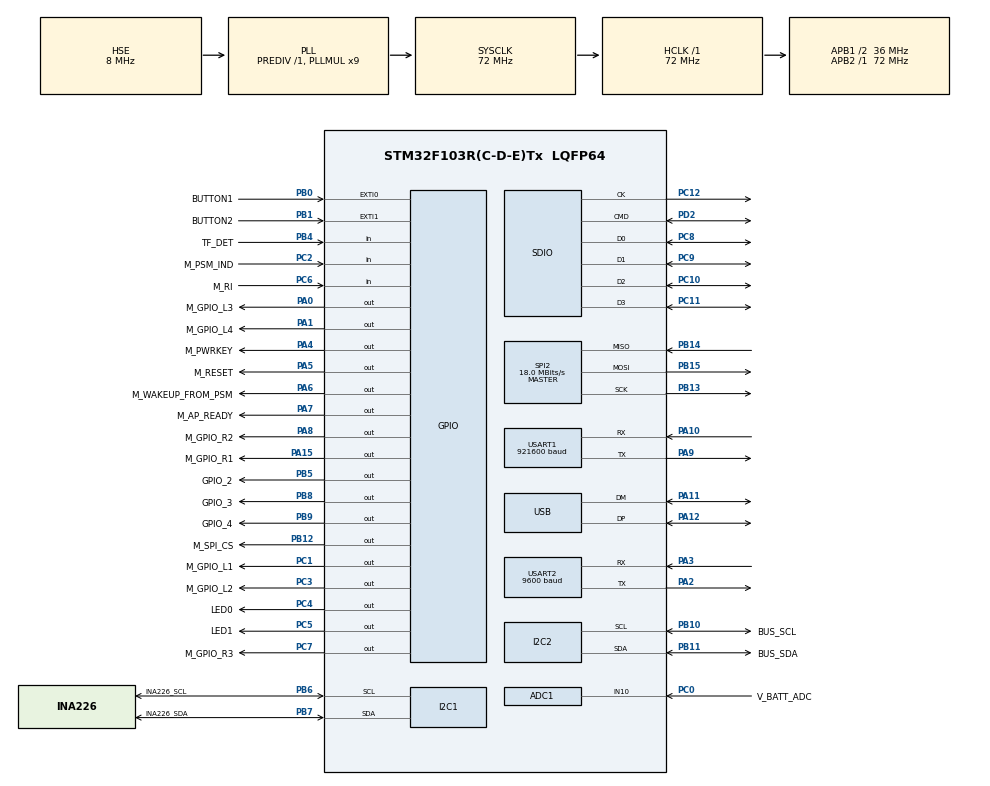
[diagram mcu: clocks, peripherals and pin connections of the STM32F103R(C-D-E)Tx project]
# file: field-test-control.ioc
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ADC1.Channel-0\#ChannelRegularConversion=ADC_CHANNEL_10
ADC1.Channel-1\#ChannelRegularConversion=ADC_CHANNEL_10
ADC1.Channel-4\#ChannelRegularConversion=ADC_CHANNEL_10
ADC1.Channel-5\#ChannelRegularConversion=ADC_CHANNEL_10
ADC1.EnableAnalogWatchDog=false
ADC1.NbrOfConversion=4
ADC1.NbrOfConversionFlag=1
ADC1.Rank-0\#ChannelRegularConversion=1
ADC1.Rank-1\#ChannelRegularConversion=2
ADC1.Rank-4\#ChannelRegularConversion=3
ADC1.Rank-5\#ChannelRegularConversion=4
ADC1.SamplingTime-0\#ChannelRegularConversion=ADC_SAMPLETIME_55CYCLES_5
ADC1.SamplingTime-1\#ChannelRegularConversion=ADC_SAMPLETIME_1CYCLE_5
ADC1.SamplingTime-4\#ChannelRegularConversion=ADC_SAMPLETIME_1CYCLE_5
ADC1.SamplingTime-5\#ChannelRegularConversion=ADC_SAMPLETIME_1CYCLE_5
ADC1.master=1
Dma.MEMTOMEM.4.Direction=DMA_MEMORY_TO_MEMORY
Dma.MEMTOMEM.4.Instance=DMA1_Channel1
Dma.MEMTOMEM.4.MemDataAlignment=DMA_MDATAALIGN_BYTE
Dma.MEMTOMEM.4.MemInc=DMA_MINC_ENABLE
Dma.MEMTOMEM.4.Mode=DMA_NORMAL
Dma.MEMTOMEM.4.PeriphDataAlignment=DMA_PDATAALIGN_BYTE
Dma.MEMTOMEM.4.PeriphInc=DMA_PINC_ENABLE
Dma.MEMTOMEM.4.Priority=DMA_PRIORITY_LOW
Dma.Request0=SDIO
Dma.Request1=USART2_RX
Dma.Request2=USART2_TX
Dma.Request3=USART1_RX
Dma.Request4=MEMTOMEM
Dma.SDIO.0.Direction=DMA_MEMORY_TO_PERIPH
Dma.SDIO.0.Instance=DMA2_Channel4
Dma.SDIO.0.MemDataAlignment=DMA_MDATAALIGN_WORD
Dma.SDIO.0.MemInc=DMA_MINC_ENABLE
Dma.SDIO.0.Mode=DMA_CIRCULAR
Dma.SDIO.0.PeriphDataAlignment=DMA_PDATAALIGN_WORD
Dma.SDIO.0.PeriphInc=DMA_PINC_DISABLE
Dma.SDIO.0.Priority=DMA_PRIORITY_LOW
Dma.USART1_RX.3.Direction=DMA_PERIPH_TO_MEMORY
Dma.USART1_RX.3.Instance=DMA1_Channel5
Dma.USART1_RX.3.MemDataAlignment=DMA_MDATAALIGN_BYTE
Dma.USART1_RX.3.MemInc=DMA_MINC_ENABLE
Dma.USART1_RX.3.Mode=DMA_NORMAL
Dma.USART1_RX.3.PeriphDataAlignment=DMA_PDATAALIGN_BYTE
Dma.USART1_RX.3.PeriphInc=DMA_PINC_DISABLE
Dma.USART1_RX.3.Priority=DMA_PRIORITY_MEDIUM
Dma.USART2_RX.1.Direction=DMA_PERIPH_TO_MEMORY
Dma.USART2_RX.1.Instance=DMA1_Channel6
Dma.USART2_RX.1.MemDataAlignment=DMA_MDATAALIGN_BYTE
Dma.USART2_RX.1.MemInc=DMA_MINC_ENABLE
Dma.USART2_RX.1.Mode=DMA_NORMAL
Dma.USART2_RX.1.PeriphDataAlignment=DMA_PDATAALIGN_BYTE
Dma.USART2_RX.1.PeriphInc=DMA_PINC_DISABLE
Dma.USART2_RX.1.Priority=DMA_PRIORITY_LOW
Dma.USART2_TX.2.Direction=DMA_MEMORY_TO_PERIPH
Dma.USART2_TX.2.Instance=DMA1_Channel7
Dma.USART2_TX.2.MemDataAlignment=DMA_MDATAALIGN_BYTE
Dma.USART2_TX.2.MemInc=DMA_MINC_ENABLE
Dma.USART2_TX.2.Mode=DMA_NORMAL
Dma.USART2_TX.2.PeriphDataAlignment=DMA_PDATAALIGN_BYTE
Dma.USART2_TX.2.PeriphInc=DMA_PINC_DISABLE
Dma.USART2_TX.2.Priority=DMA_PRIORITY_LOW
FATFS.BSP.number=1
FATFS._CODE_PAGE=936
FATFS._USE_LFN=2
FATFS0.BSP.STBoard=false
FATFS0.BSP.api=Unknown
FATFS0.BSP.i2caddr=0
FATFS0.BSP.instance=PB4
FATFS0.BSP.ip=GPIO
FATFS0.BSP.mode=Input
FATFS0.BSP.name=Detect_SDIO
FATFS0.BSP.solution=PB4
I2C1.I2C_Mode=I2C_Fast
I2C2.I2C_Mode=I2C_Fast
Mcu.Family=STM32F1
Mcu.Name=STM32F103R(C-D-E)Tx
Mcu.Package=LQFP64
NVIC.DMA1_Channel5_IRQn=true\:0\:0\:false\:false\:true\:false\:true
NVIC.DMA1_Channel6_IRQn=true\:0\:0\:false\:false\:true\:false\:true
NVIC.DMA1_Channel7_IRQn=true\:0\:0\:false\:false\:true\:false\:true
NVIC.DMA2_Channel4_5_IRQn=true\:2\:0\:true\:false\:true\:false\:true
NVIC.EXTI0_IRQn=true\:3\:0\:true\:false\:true\:true\:true
NVIC.EXTI1_IRQn=true\:3\:0\:true\:false\:true\:true\:true
NVIC.PriorityGroup=NVIC_PRIORITYGROUP_4
NVIC.RTC_IRQn=true\:0\:0\:true\:false\:true\:true\:true
NVIC.SDIO_IRQn=true\:2\:0\:true\:false\:true\:true\:true
NVIC.USART2_IRQn=true\:1\:0\:true\:false\:true\:true\:true
NVIC.USB_LP_CAN1_RX0_IRQn=true\:0\:0\:false\:false\:true\:false\:true
PA0-WKUP.GPIO_Label=M_GPIO_L3
PA0-WKUP.Signal=GPIO_Output
PA1.GPIO_Label=M_GPIO_L4
PA1.GPIO_PuPd=GPIO_NOPULL
PA1.Signal=GPIO_Output
PA10.Mode=Asynchronous
PA10.Signal=USART1_RX
PA11.Mode=Device
PA11.Signal=USB_DM
PA12.Mode=Device
PA12.Signal=USB_DP
PA13.Mode=Serial_Wire
PA13.Signal=SYS_JTMS-SWDIO
PA14.Mode=Serial_Wire
PA14.Signal=SYS_JTCK-SWCLK
PA15.GPIO_Label=M_GPIO_R1
PA15.Signal=GPIO_Output
PA2.Mode=Asynchronous
PA2.Signal=USART2_TX
PA3.Mode=Asynchronous
PA3.Signal=USART2_RX
PA4.GPIO_Label=M_PWRKEY
PA4.GPIO_PuPd=GPIO_PULLUP
PA4.PinState=GPIO_PIN_RESET
PA4.Signal=GPIO_Output
PA5.GPIO_Label=M_RESET
PA5.GPIO_PuPd=GPIO_PULLUP
PA5.Signal=GPIO_Output
PA6.GPIO_Label=M_WAKEUP_FROM_PSM
PA6.Signal=GPIO_Output
PA7.GPIO_Label=M_AP_READY
PA7.Signal=GPIO_Output
PA8.GPIO_Label=M_GPIO_R2
PA8.Signal=GPIO_Output
PA9.Mode=Asynchronous
PA9.Signal=USART1_TX
PB0.GPIO_Label=BUTTON1
PB0.GPIO_ModeDefaultEXTI=GPIO_MODE_IT_FALLING
PB0.GPIO_PuPd=GPIO_PULLUP
PB0.Signal=GPXTI0
PB1.GPIO_Label=BUTTON2
PB1.GPIO_ModeDefaultEXTI=GPIO_MODE_IT_FALLING
PB1.GPIO_PuPd=GPIO_PULLUP
PB1.Signal=GPXTI1
PB10.GPIO_Label=BUS_SCL
PB10.Mode=I2C
PB10.Signal=I2C2_SCL
PB11.GPIO_Label=BUS_SDA
PB11.Mode=I2C
PB11.Signal=I2C2_SDA
PB12.GPIO_Label=M_SPI_CS
PB12.Signal=GPIO_Output
PB13.Mode=Full_Duplex_Master
PB13.Signal=SPI2_SCK
PB14.Mode=Full_Duplex_Master
PB14.Signal=SPI2_MISO
PB15.Mode=Full_Duplex_Master
PB15.Signal=SPI2_MOSI
PB3.Signal=SYS_JTDO-TRACESWO
PB4.GPIO_Label=TF_DET
PB4.Signal=GPIO_Input
PB5.GPIO_Label=GPIO_2
PB5.Signal=GPIO_Output
PB6.GPIO_Label=INA226_SCL
PB6.Mode=I2C
PB6.Signal=I2C1_SCL
PB7.GPIO_Label=INA226_SDA
PB7.Mode=I2C
PB7.Signal=I2C1_SDA
PB8.GPIO_Label=GPIO_3
PB8.Signal=GPIO_Output
PB9.GPIO_Label=GPIO_4
PB9.Signal=GPIO_Output
PC0.GPIO_Label=V_BATT_ADC
PC0.Signal=ADCx_IN10
PC1.GPIO_Label=M_GPIO_L1
PC1.Signal=GPIO_Output
PC10.Mode=SD_4_bits_Wide_bus
PC10.Signal=SDIO_D2
PC11.Mode=SD_4_bits_Wide_bus
PC11.Signal=SDIO_D3
PC12.Mode=SD_4_bits_Wide_bus
PC12.Signal=SDIO_CK
PC14-OSC32_IN.Mode=LSE-External-Oscillator
PC14-OSC32_IN.Signal=RCC_OSC32_IN
PC15-OSC32_OUT.Mode=LSE-External-Oscillator
PC15-OSC32_OUT.Signal=RCC_OSC32_OUT
PC2.GPIO_Label=M_PSM_IND
PC2.Signal=GPIO_Input
PC3.GPIO_Label=M_GPIO_L2
PC3.Signal=GPIO_Output
PC4.GPIO_Label=LED0
PC4.Signal=GPIO_Output
PC5.GPIO_Label=LED1
PC5.Signal=GPIO_Output
PC6.GPIO_Label=M_RI
PC6.Signal=GPIO_Input
PC7.GPIO_Label=M_GPIO_R3
PC7.Signal=GPIO_Output
PC8.Mode=SD_4_bits_Wide_bus
PC8.Signal=SDIO_D0
PC9.Mode=SD_4_bits_Wide_bus
PC9.Signal=SDIO_D1
PD0-OSC_IN.Mode=HSE-External-Oscillator
PD0-OSC_IN.Signal=RCC_OSC_IN
PD1-OSC_OUT.Mode=HSE-External-Oscillator
PD1-OSC_OUT.Signal=RCC_OSC_OUT
PD2.Mode=SD_4_bits_Wide_bus
PD2.Signal=SDIO_CMD
ProjectManager.HeapSize=0x400
ProjectManager.StackSize=0x1000
ProjectManager.TargetToolchain=SW4STM32
RCC.ADCPresc=RCC_ADCPCLK2_DIV6
RCC.AHBFreq_Value=72000000
RCC.APB1CLKDivider=RCC_HCLK_DIV2
RCC.APB1Freq_Value=36000000
RCC.APB1TimFreq_Value=72000000
RCC.APB2Freq_Value=72000000
RCC.APB2TimFreq_Value=72000000
RCC.HCLKFreq_Value=72000000
RCC.PLLMUL=RCC_PLL_MUL9
RCC.PLLSourceVirtual=RCC_PLLSOURCE_HSE
RCC.SYSCLKFreq_VALUE=72000000
RCC.SYSCLKSource=RCC_SYSCLKSOURCE_PLLCLK
RCC.USBFreq_Value=48000000
RCC.USBPrescaler=RCC_USBCLKSOURCE_PLL_DIV1_5
SDIO.ClockDiv=0
SH.ADCx_IN10.0=ADC1_IN10,IN10
SPI2.CalculateBaudRate=18.0 MBits/s
SPI2.Direction=SPI_DIRECTION_2LINES
SPI2.Mode=SPI_MODE_MASTER
SPI2.VirtualType=VM_MASTER
USART1.BaudRate=921600
USART1.Mode=MODE_RX
USART1.VirtualMode=VM_ASYNC
USART2.BaudRate=9600
USART2.VirtualMode=VM_ASYNC
USB_DEVICE.CLASS_NAME_FS=CDC
USB_DEVICE.MANUFACTURER_STRING=MSDY Tech (USBCDC)
USB_DEVICE.VirtualMode=Cdc
USB_DEVICE.VirtualModeFS=Cdc_FS
VP_FATFS_VS_SDIO.Mode=SDIO
VP_RTC_VS_RTC_Activate.Mode=RTC_Enabled
VP_USB_DEVICE_VS_USB_DEVICE_CDC_FS.Mode=CDC_FS
board=custom

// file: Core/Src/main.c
/* USER CODE BEGIN Header */
/**
 ******************************************************************************
 * @file           : main.c
 * @brief          : Main program body
 ******************************************************************************
 * @attention
 *
 * <h2><center>&copy; Copyright (c) 2019 STMicroelectronics.
 * All rights reserved.</center></h2>
 *
 * This software component is licensed by ST under Ultimate Liberty license
 * SLA0044, the "License"; You may not use this file except in compliance with
 * the License. You may obtain a copy of the License at:
 *                             www.st.com/SLA0044
 *
 ******************************************************************************
 */
/* USER CODE END Header */

#include "main.h"
#include "fatfs.h"
#include "usb_device.h"

/* USER CODE BEGIN Includes */
#include "usbd_cdc_if.h"

#include "fm_demo.h"
#include "fm_project_main.h" /* This is the de facto main.h for the project, because CubeMX affects this file. */
/* USER CODE END Includes */

ADC_HandleTypeDef hadc1;

I2C_HandleTypeDef hi2c1;
I2C_HandleTypeDef hi2c2;

RTC_HandleTypeDef hrtc;

SD_HandleTypeDef hsd;
DMA_HandleTypeDef hdma_sdio;

SPI_HandleTypeDef hspi2;

UART_HandleTypeDef huart1;
UART_HandleTypeDef huart2;
DMA_HandleTypeDef hdma_usart1_rx;
DMA_HandleTypeDef hdma_usart2_rx;
DMA_HandleTypeDef hdma_usart2_tx;

DMA_HandleTypeDef hdma_memtomem_dma1_channel1;

void SystemClock_Config(void);
static void MX_GPIO_Init(void);
static void MX_ADC1_Init(void);
static void MX_I2C1_Init(void);
static void MX_I2C2_Init(void);
static void MX_RTC_Init(void);
static void MX_SDIO_SD_Init(void);
static void MX_SPI2_Init(void);
static void MX_USART1_UART_Init(void);
static void MX_USART2_UART_Init(void);
static void MX_DMA_Init(void);

int main(void) {

  /* MCU Configuration--------------------------------------------------------*/

  /* Reset of all peripherals, Initializes the Flash interface and the Systick.
   */
  HAL_Init();

  /* Configure the system clock */
  SystemClock_Config();

  /* USER CODE BEGIN SysInit */

  /* Note: Please Init DMA before other module that depends on DMA!!! */
  /* USER CODE END SysInit */

  /* Initialize all configured peripherals */
  MX_GPIO_Init();
  MX_ADC1_Init();
  MX_DMA_Init();
  MX_I2C1_Init();
  MX_I2C2_Init();
  MX_RTC_Init();
  MX_SDIO_SD_Init();
  MX_SPI2_Init();
  MX_USART1_UART_Init();
  MX_USART2_UART_Init();
  MX_FATFS_Init();
  MX_USB_DEVICE_Init();
  /* USER CODE BEGIN 2 */

  /* Note:
     (1) Choose STATE_DEMOS to test all the components on the board.
     (2) Choose STATE_INIT to run the normal mode.
   */

  work_mode = STATE_INIT;
  /* work_mode = STATE_WRITE_META_TO_EEPROM; */
  /* work_mode = STATE_DEMOS; */

  /* work_mode = STATE_PPL_CURRENT_SENSING_TO_SD; */
  /* work_mode = STATE_PPL_DBG_LOG_TO_SD; */
  /* work_mode = STATE_DEVELOP_1; */
  /* work_mode = STATE_FIELD_TEST;  // For DY testing */

  if (STATE_DEMOS != work_mode) {
    project_additional_init(); // don't run this if want to run demos
  }

#if HAS_DISPLAY
  // Display something to make sure it runs.
  ssd1306_Init();
  ssd1306_TestFonts();
  HAL_Delay(1000);
#endif
  /* USER CODE END 2 */

  /* Infinite loop */
  /* USER CODE BEGIN WHILE */
  while (1) {
    char dummy_cmd[] = "ATI\r\n";
    const uint8_t demo_choice = 9;
    switch (work_mode) {
      // FIXME: if there are more than 5 lines of code, move it to a "pipeline"
      // function.
    case STATE_DEMOS:
      load_meta_and_task_from_eeprom();
      MX_USART2_UART_Init(); // reset the baudrate for BC28.
      run_demos(demo_choice);
      break;

    case STATE_IDLE:
      HAL_Delay(1); // only SW1 and SW2 are responding in this state.
      break;

    case STATE_INIT:
      if (IS_BUTTON1_PRESSED and IS_BUTTON2_PRESSED) {
        // Enter AT command pass-through mode,
        // by pressing SW1 and SW2 together and reset the MCU.
        work_mode = STATE_DEMOS;
        break;
      }
      load_meta_and_task_from_eeprom();
      determine_work_mode_after_loading_eeprom();
      reset_ue();
      MX_USART1_UART_Init(); // Reset the buadrate for the module.
      break;

    case STATE_INIT_PACKET:
      task_assignment_pipeline();
      break;

    case STATE_FIELD_TEST:
      field_test_control_pipeline(dummy_cmd);
      break;

    case STATE_WRITE_META_TO_EEPROM:
      board_meta_io_pipeline();
      break;

    case STATE_DEVELOP_1:
      develop_override_loaded_results_from_eeprom();
      break;

    case STATE_DEVELOP_2:
      break;

    case STATE_PPL_CURRENT_SENSING_TO_SD:
#if HAS_SD_CARD_IO
      project_additional_init();
//      load_meta_and_task_from_eeprom();
//      MX_USART1_UART_Init(); // Reset the buadrate for the module.
      MX_FATFS_Init();
      sdio_reset_sdio_monitor();
//      ul_transmission_current_sensing_to_sd_pipeline();
      current_sensing_to_sd_pipeline(dummy_cmd);
#else
      usb_cdc_send_string("[WRN] SD IO disabled.");
#endif
      break;

    case STATE_PPL_DBG_LOG_TO_SD:
#if HAS_SD_CARD_IO
      MX_FATFS_Init();
      load_meta_and_task_from_eeprom();
      reset_ue();
      dbg_log_to_sd_pipeline(dummy_cmd);
#else
      usb_cdc_send_string("[WRN] SD IO disabled.");
#endif
      break;

    default:
      break;
    }
    /* USER CODE END WHILE */

  }
}

void SystemClock_Config(void) {
  RCC_OscInitTypeDef RCC_OscInitStruct = {0};
  RCC_ClkInitTypeDef RCC_ClkInitStruct = {0};
  RCC_PeriphCLKInitTypeDef PeriphClkInit = {0};

  /** Initializes the CPU, AHB and APB busses clocks
   */
  RCC_OscInitStruct.OscillatorType =
      RCC_OSCILLATORTYPE_LSI | RCC_OSCILLATORTYPE_HSE;
  RCC_OscInitStruct.HSEState = RCC_HSE_ON;
  RCC_OscInitStruct.HSEPredivValue = RCC_HSE_PREDIV_DIV1;
  RCC_OscInitStruct.HSIState = RCC_HSI_ON;
  RCC_OscInitStruct.LSIState = RCC_LSI_ON;
  RCC_OscInitStruct.PLL.PLLState = RCC_PLL_ON;
  RCC_OscInitStruct.PLL.PLLSource = RCC_PLLSOURCE_HSE;
  RCC_OscInitStruct.PLL.PLLMUL = RCC_PLL_MUL9;
  if (HAL_RCC_OscConfig(&RCC_OscInitStruct) != HAL_OK) {
    Error_Handler();
  }
  /** Initializes the CPU, AHB and APB busses clocks
   */
  RCC_ClkInitStruct.ClockType = RCC_CLOCKTYPE_HCLK | RCC_CLOCKTYPE_SYSCLK |
                                RCC_CLOCKTYPE_PCLK1 | RCC_CLOCKTYPE_PCLK2;
  RCC_ClkInitStruct.SYSCLKSource = RCC_SYSCLKSOURCE_PLLCLK;
  RCC_ClkInitStruct.AHBCLKDivider = RCC_SYSCLK_DIV1;
  RCC_ClkInitStruct.APB1CLKDivider = RCC_HCLK_DIV2;
  RCC_ClkInitStruct.APB2CLKDivider = RCC_HCLK_DIV1;

  if (HAL_RCC_ClockConfig(&RCC_ClkInitStruct, FLASH_LATENCY_2) != HAL_OK) {
    Error_Handler();
  }
  PeriphClkInit.PeriphClockSelection =
      RCC_PERIPHCLK_RTC | RCC_PERIPHCLK_ADC | RCC_PERIPHCLK_USB;
  PeriphClkInit.RTCClockSelection = RCC_RTCCLKSOURCE_LSI;
  PeriphClkInit.AdcClockSelection = RCC_ADCPCLK2_DIV6;
  PeriphClkInit.UsbClockSelection = RCC_USBCLKSOURCE_PLL_DIV1_5;
  if (HAL_RCCEx_PeriphCLKConfig(&PeriphClkInit) != HAL_OK) {
    Error_Handler();
  }
}

static void MX_ADC1_Init(void) {

  ADC_ChannelConfTypeDef sConfig = {0};

  /** Common config
   */
  hadc1.Instance = ADC1;
  hadc1.Init.ScanConvMode = ADC_SCAN_ENABLE;
  hadc1.Init.ContinuousConvMode = DISABLE;
  hadc1.Init.DiscontinuousConvMode = DISABLE;
  hadc1.Init.ExternalTrigConv = ADC_SOFTWARE_START;
  hadc1.Init.DataAlign = ADC_DATAALIGN_RIGHT;
  hadc1.Init.NbrOfConversion = 2;
  if (HAL_ADC_Init(&hadc1) != HAL_OK) {
    Error_Handler();
  }
  /** Configure Regular Channel
   */
  sConfig.Channel = ADC_CHANNEL_10;
  sConfig.Rank = ADC_REGULAR_RANK_1;
  sConfig.SamplingTime = ADC_SAMPLETIME_13CYCLES_5;
  if (HAL_ADC_ConfigChannel(&hadc1, &sConfig) != HAL_OK) {
    Error_Handler();
  }
  /** Configure Regular Channel
   */
  sConfig.Rank = ADC_REGULAR_RANK_2;
  sConfig.SamplingTime = ADC_SAMPLETIME_1CYCLE_5;
  if (HAL_ADC_ConfigChannel(&hadc1, &sConfig) != HAL_OK) {
    Error_Handler();
  }
  /** Configure Regular Channel
   */
  sConfig.Rank = ADC_REGULAR_RANK_3;
  if (HAL_ADC_ConfigChannel(&hadc1, &sConfig) != HAL_OK) {
    Error_Handler();
  }
  /** Configure Regular Channel
   */
  sConfig.Rank = ADC_REGULAR_RANK_4;
  if (HAL_ADC_ConfigChannel(&hadc1, &sConfig) != HAL_OK) {
    Error_Handler();
  }
}

static void MX_I2C1_Init(void) {

  hi2c1.Instance = I2C1;
  hi2c1.Init.ClockSpeed = 400000;
  hi2c1.Init.DutyCycle = I2C_DUTYCYCLE_2;
  hi2c1.Init.OwnAddress1 = 0;
  hi2c1.Init.AddressingMode = I2C_ADDRESSINGMODE_7BIT;
  hi2c1.Init.DualAddressMode = I2C_DUALADDRESS_DISABLE;
  hi2c1.Init.OwnAddress2 = 0;
  hi2c1.Init.GeneralCallMode = I2C_GENERALCALL_DISABLE;
  hi2c1.Init.NoStretchMode = I2C_NOSTRETCH_DISABLE;
  if (HAL_I2C_Init(&hi2c1) != HAL_OK) {
    Error_Handler();
  }
}

static void MX_I2C2_Init(void) {

  hi2c2.Instance = I2C2;
  hi2c2.Init.ClockSpeed = 400000;
  hi2c2.Init.DutyCycle = I2C_DUTYCYCLE_2;
  hi2c2.Init.OwnAddress1 = 0;
  hi2c2.Init.AddressingMode = I2C_ADDRESSINGMODE_7BIT;
  hi2c2.Init.DualAddressMode = I2C_DUALADDRESS_DISABLE;
  hi2c2.Init.OwnAddress2 = 0;
  hi2c2.Init.GeneralCallMode = I2C_GENERALCALL_DISABLE;
  hi2c2.Init.NoStretchMode = I2C_NOSTRETCH_DISABLE;
  if (HAL_I2C_Init(&hi2c2) != HAL_OK) {
    Error_Handler();
  }
}

static void MX_RTC_Init(void) {

  /** Initialize RTC Only
   */
  hrtc.Instance = RTC;
  hrtc.Init.AsynchPrediv = RTC_AUTO_1_SECOND;
  hrtc.Init.OutPut = RTC_OUTPUTSOURCE_ALARM;
  if (HAL_RTC_Init(&hrtc) != HAL_OK) {
    Error_Handler();
  }
}

static void MX_SDIO_SD_Init(void) {

  hsd.Instance = SDIO;
  hsd.Init.ClockEdge = SDIO_CLOCK_EDGE_RISING;
  hsd.Init.ClockBypass = SDIO_CLOCK_BYPASS_DISABLE;
  hsd.Init.ClockPowerSave = SDIO_CLOCK_POWER_SAVE_DISABLE;
  hsd.Init.BusWide = SDIO_BUS_WIDE_1B;
  hsd.Init.HardwareFlowControl = SDIO_HARDWARE_FLOW_CONTROL_ENABLE;
  hsd.Init.ClockDiv = 2;
  /* USER CODE BEGIN SDIO_Init 2 */
  if (HAL_OK != HAL_SD_Init(&hsd)) {
    Error_Handler();
  }

  if (HAL_OK != HAL_SD_ConfigWideBusOperation(&hsd, SDIO_BUS_WIDE_4B)) {
    Error_Handler();
  }

  /* USER CODE END SDIO_Init 2 */
}

static void MX_SPI2_Init(void) {

  /* SPI2 parameter configuration*/
  hspi2.Instance = SPI2;
  hspi2.Init.Mode = SPI_MODE_MASTER;
  hspi2.Init.Direction = SPI_DIRECTION_2LINES;
  hspi2.Init.DataSize = SPI_DATASIZE_8BIT;
  hspi2.Init.CLKPolarity = SPI_POLARITY_LOW;
  hspi2.Init.CLKPhase = SPI_PHASE_1EDGE;
  hspi2.Init.NSS = SPI_NSS_SOFT;
  hspi2.Init.BaudRatePrescaler = SPI_BAUDRATEPRESCALER_2;
  hspi2.Init.FirstBit = SPI_FIRSTBIT_MSB;
  hspi2.Init.TIMode = SPI_TIMODE_DISABLE;
  hspi2.Init.CRCCalculation = SPI_CRCCALCULATION_DISABLE;
  hspi2.Init.CRCPolynomial = 10;
  if (HAL_SPI_Init(&hspi2) != HAL_OK) {
    Error_Handler();
  }
}

static void MX_USART1_UART_Init(void) {

  huart1.Instance = USART1;
  huart1.Init.BaudRate = 921600;
  huart1.Init.WordLength = UART_WORDLENGTH_8B;
  huart1.Init.StopBits = UART_STOPBITS_1;
  huart1.Init.Parity = UART_PARITY_NONE;
  huart1.Init.Mode = UART_MODE_RX;
  huart1.Init.HwFlowCtl = UART_HWCONTROL_NONE;
  huart1.Init.OverSampling = UART_OVERSAMPLING_16;
  if (HAL_UART_Init(&huart1) != HAL_OK) {
    Error_Handler();
  }
}

static void MX_USART2_UART_Init(void) {

  /* USER CODE BEGIN USART2_Init 0 */
  uint32_t baud_dev = 115200;
  switch (e_module_type) {
  case BC28:
  case BC95:
  case BC35:
    baud_dev = 9600;
    break;
  case BC26:
  case BC66:
  case BG96:
  case ME3616:
  case SARAR410M02B:
    baud_dev = 115200;
    break;
  default:
    baud_dev = 115200;
    break;
  }
  /* USER CODE END USART2_Init 0 */

  huart2.Instance = USART2;
  huart2.Init.BaudRate = baud_dev;
  huart2.Init.WordLength = UART_WORDLENGTH_8B;
  huart2.Init.StopBits = UART_STOPBITS_1;
  huart2.Init.Parity = UART_PARITY_NONE;
  huart2.Init.Mode = UART_MODE_TX_RX;
  huart2.Init.HwFlowCtl = UART_HWCONTROL_NONE;
  huart2.Init.OverSampling = UART_OVERSAMPLING_16;
  if (HAL_UART_Init(&huart2) != HAL_OK) {
    Error_Handler();
  }
}

static void MX_DMA_Init(void) {

  /* DMA controller clock enable */
  __HAL_RCC_DMA2_CLK_ENABLE();
  __HAL_RCC_DMA1_CLK_ENABLE();

  /* Configure DMA request hdma_memtomem_dma1_channel1 on DMA1_Channel1 */
  hdma_memtomem_dma1_channel1.Instance = DMA1_Channel1;
  hdma_memtomem_dma1_channel1.Init.Direction = DMA_MEMORY_TO_MEMORY;
  hdma_memtomem_dma1_channel1.Init.PeriphInc = DMA_PINC_ENABLE;
  hdma_memtomem_dma1_channel1.Init.MemInc = DMA_MINC_ENABLE;
  hdma_memtomem_dma1_channel1.Init.PeriphDataAlignment = DMA_PDATAALIGN_BYTE;
  hdma_memtomem_dma1_channel1.Init.MemDataAlignment = DMA_MDATAALIGN_BYTE;
  hdma_memtomem_dma1_channel1.Init.Mode = DMA_NORMAL;
  hdma_memtomem_dma1_channel1.Init.Priority = DMA_PRIORITY_LOW;
  if (HAL_DMA_Init(&hdma_memtomem_dma1_channel1) != HAL_OK) {
    Error_Handler();
  }

  /* DMA interrupt init */
  /* DMA1_Channel5_IRQn interrupt configuration */
  HAL_NVIC_SetPriority(DMA1_Channel5_IRQn, 0, 0);
  HAL_NVIC_EnableIRQ(DMA1_Channel5_IRQn);
  /* DMA1_Channel6_IRQn interrupt configuration */
  HAL_NVIC_SetPriority(DMA1_Channel6_IRQn, 0, 0);
  HAL_NVIC_EnableIRQ(DMA1_Channel6_IRQn);
  /* DMA1_Channel7_IRQn interrupt configuration */
  HAL_NVIC_SetPriority(DMA1_Channel7_IRQn, 0, 0);
  HAL_NVIC_EnableIRQ(DMA1_Channel7_IRQn);
  /* DMA2_Channel4_5_IRQn interrupt configuration */
  HAL_NVIC_SetPriority(DMA2_Channel4_5_IRQn, 2, 0);
  HAL_NVIC_EnableIRQ(DMA2_Channel4_5_IRQn);
}

static void MX_GPIO_Init(void) {
  GPIO_InitTypeDef GPIO_InitStruct = {0};

  /* GPIO Ports Clock Enable */
  __HAL_RCC_GPIOC_CLK_ENABLE();
  __HAL_RCC_GPIOD_CLK_ENABLE();
  __HAL_RCC_GPIOA_CLK_ENABLE();
  __HAL_RCC_GPIOB_CLK_ENABLE();

  /*Configure GPIO pin Output Level */
  HAL_GPIO_WritePin(GPIOC,
                    M_GPIO_L1_Pin | M_GPIO_L2_Pin | LED0_Pin | LED1_Pin |
                        M_GPIO_R3_Pin,
                    GPIO_PIN_RESET);

  /*Configure GPIO pin Output Level */
  HAL_GPIO_WritePin(GPIOA,
                    M_GPIO_L3_Pin | M_GPIO_L4_Pin | M_PWRKEY_Pin | M_RESET_Pin |
                        M_WAKEUP_FROM_PSM_Pin | M_AP_READY_Pin | M_GPIO_R2_Pin |
                        M_GPIO_R1_Pin,
                    GPIO_PIN_RESET);

  /*Pull up this pin to power on BC28*/
  // HAL_GPIO_WritePin(GPIOA, M_RESET_Pin, GPIO_PIN_SET);
  /*Xianghui 2019-12-31*/

  /*Configure GPIO pin Output Level */
  HAL_GPIO_WritePin(GPIOB, M_SPI_CS_Pin | GPIO_2_Pin | GPIO_3_Pin | GPIO_4_Pin,
                    GPIO_PIN_RESET);

  /*Configure GPIO pins : M_GPIO_L1_Pin M_GPIO_L2_Pin LED0_Pin LED1_Pin
                           M_GPIO_R3_Pin */
  GPIO_InitStruct.Pin =
      M_GPIO_L1_Pin | M_GPIO_L2_Pin | LED0_Pin | LED1_Pin | M_GPIO_R3_Pin;
  GPIO_InitStruct.Mode = GPIO_MODE_OUTPUT_PP;
  GPIO_InitStruct.Pull = GPIO_NOPULL;
  GPIO_InitStruct.Speed = GPIO_SPEED_FREQ_LOW;
  HAL_GPIO_Init(GPIOC, &GPIO_InitStruct);

  /*Configure GPIO pins : M_PSM_IND_Pin M_RI_Pin */
  GPIO_InitStruct.Pin = M_PSM_IND_Pin | M_RI_Pin;
  GPIO_InitStruct.Mode = GPIO_MODE_INPUT;
  GPIO_InitStruct.Pull = GPIO_NOPULL;
  HAL_GPIO_Init(GPIOC, &GPIO_InitStruct);

  /*Configure GPIO pins : M_GPIO_L3_Pin M_GPIO_L4_Pin M_WAKEUP_FROM_PSM_Pin
     M_AP_READY_Pin M_GPIO_R2_Pin M_GPIO_R1_Pin */
  GPIO_InitStruct.Pin = M_GPIO_L3_Pin | M_GPIO_L4_Pin | M_WAKEUP_FROM_PSM_Pin |
                        M_AP_READY_Pin | M_GPIO_R2_Pin | M_GPIO_R1_Pin;
  GPIO_InitStruct.Mode = GPIO_MODE_OUTPUT_PP;
  GPIO_InitStruct.Pull = GPIO_NOPULL;
  GPIO_InitStruct.Speed = GPIO_SPEED_FREQ_LOW;
  HAL_GPIO_Init(GPIOA, &GPIO_InitStruct);

  /*Configure GPIO pins : M_PWRKEY_Pin M_RESET_Pin */
  GPIO_InitStruct.Pin = M_PWRKEY_Pin | M_RESET_Pin;
  GPIO_InitStruct.Mode = GPIO_MODE_OUTPUT_PP;
  GPIO_InitStruct.Pull = GPIO_PULLUP;
  GPIO_InitStruct.Speed = GPIO_SPEED_FREQ_LOW;
  HAL_GPIO_Init(GPIOA, &GPIO_InitStruct);

  /*Configure GPIO pins : BUTTON1_Pin BUTTON2_Pin */
  GPIO_InitStruct.Pin = BUTTON1_Pin | BUTTON2_Pin;
  GPIO_InitStruct.Mode = GPIO_MODE_IT_FALLING;
  GPIO_InitStruct.Pull = GPIO_PULLUP;
  HAL_GPIO_Init(GPIOB, &GPIO_InitStruct);

  /*Configure GPIO pins : M_SPI_CS_Pin GPIO_2_Pin GPIO_3_Pin GPIO_4_Pin */
  GPIO_InitStruct.Pin = M_SPI_CS_Pin | GPIO_2_Pin | GPIO_3_Pin | GPIO_4_Pin;
  GPIO_InitStruct.Mode = GPIO_MODE_OUTPUT_PP;
  GPIO_InitStruct.Pull = GPIO_NOPULL;
  GPIO_InitStruct.Speed = GPIO_SPEED_FREQ_LOW;
  HAL_GPIO_Init(GPIOB, &GPIO_InitStruct);

  /*Configure GPIO pin : TF_DET_Pin */
  GPIO_InitStruct.Pin = TF_DET_Pin;
  GPIO_InitStruct.Mode = GPIO_MODE_INPUT;
  GPIO_InitStruct.Pull = GPIO_NOPULL;
  HAL_GPIO_Init(TF_DET_GPIO_Port, &GPIO_InitStruct);

  /* EXTI interrupt init*/
  HAL_NVIC_SetPriority(EXTI0_IRQn, 3, 0);
  HAL_NVIC_EnableIRQ(EXTI0_IRQn);

  HAL_NVIC_SetPriority(EXTI1_IRQn, 3, 0);
  HAL_NVIC_EnableIRQ(EXTI1_IRQn);
}

void Error_Handler(void) {
  /* USER CODE BEGIN Error_Handler_Debug */
  /* User can add his own implementation to report the HAL error return state */
  LED0_TOGGLE;
  LED1_TOGGLE;
  /* USER CODE END Error_Handler_Debug */
}

#ifdef USE_FULL_ASSERT
/**
 * @brief  Reports the name of the source file and the source line number
 *         where the assert_param error has occurred.
 * @param  file: pointer to the source file name
 * @param  line: assert_param error line source number
 * @retval None
 */
void assert_failed(uint8_t *file, uint32_t line) {
  /* USER CODE BEGIN 6 */
  /* User can add his own implementation to report the file name and line
     number,
     tex: printf("Wrong parameters value: file %s on line %d\r\n", file, line)
   */
  /* USER CODE END 6 */
}
#endif /* USE_FULL_ASSERT */

/************************ (C) COPYRIGHT STMicroelectronics *****END OF FILE****/
